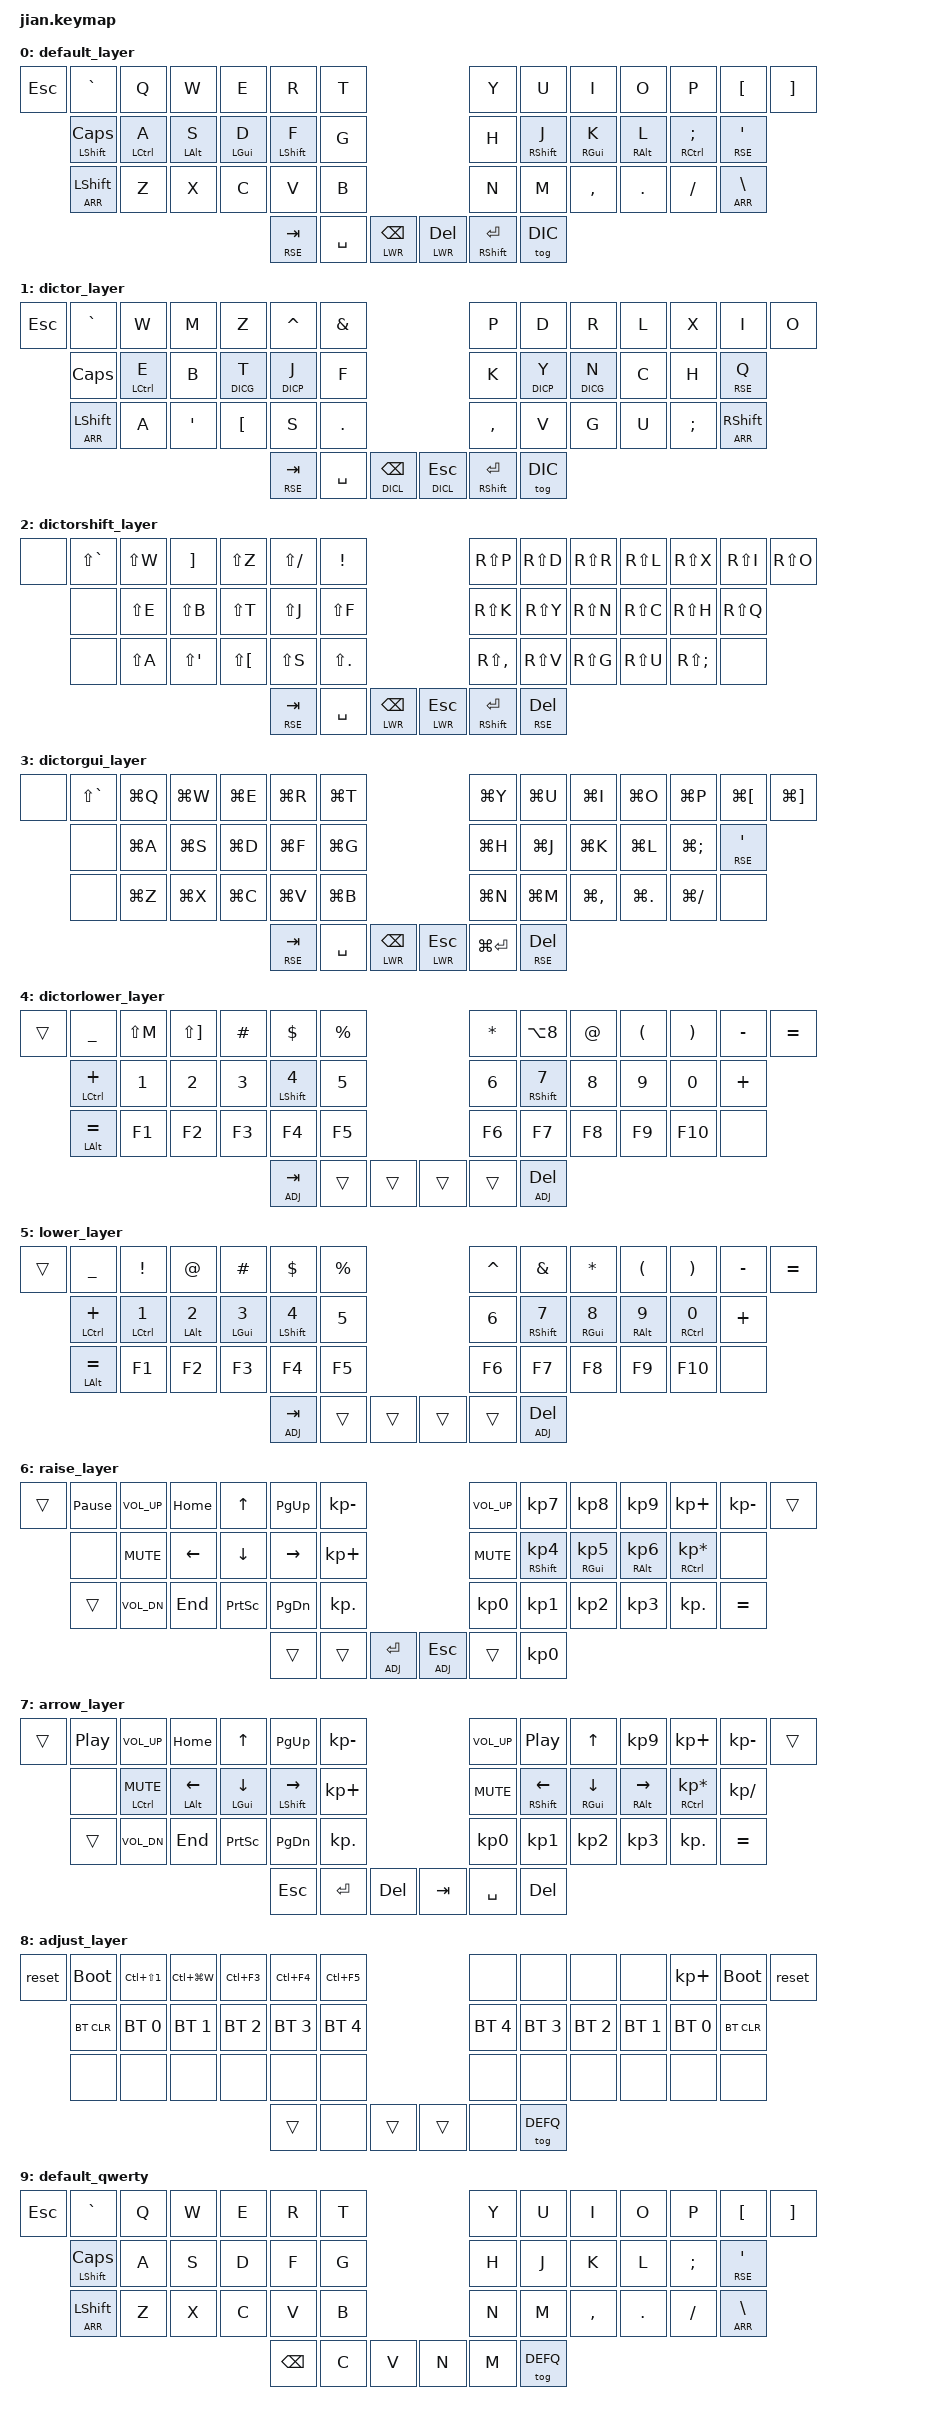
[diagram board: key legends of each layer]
/*
 * Copyright (c) 2020 The ZMK Contributors
 *
 * SPDX-License-Identifier: MIT
 *
 */

#include <behaviors.dtsi>
#include <dt-bindings/zmk/keys.h>
#include <dt-bindings/zmk/bt.h>

#define DEF 0
#define DIC 1
#define DICP 2
#define DICG 3
#define DICL 4
#define LWR 5
#define RSE 6
#define ARR 7
#define ADJ 8
#define DEFQ 9

&lt { quick_tap_ms = <200>; };
&mt { quick_tap_ms = <200>; };

/   {
    behaviors {
        hm: homerow_mods {
            compatible = "zmk,behavior-hold-tap";
            label = "HOMEROW_MODS";
            #binding-cells = <2>;
            tapping-term-ms = <150>;
            quick_tap_ms = <0>;
            flavor = "tap-preferred";
            bindings = <&kp>, <&kp>;
        };  
    };

    
    keymap {
        compatible = "zmk,keymap";

        default_layer {
            bindings = <
    // ╭─────────────┬─────────────┬─────────────┬─────────────┬─────────────┬─────────────┬─────────────╮                               ╭─────────────┬─────────────┬─────────────┬─────────────┬─────────────┬─────────────┬─────────────╮
            &kp ESC     &kp GRAVE       &kp Q       &kp W           &kp E         &kp R         &kp T                                         &kp Y        &kp U         &kp I          &kp O        &kp P         &kp LBKT      &kp RBKT
    // ╰─────────────┼─────────────┼─────────────┼─────────────┼─────────────┼─────────────┼─────────────┤                               ├─────────────┼─────────────┼─────────────┼─────────────┼─────────────┼─────────────┼─────────────╯
                     &mt LSHIFT CAPS &hm LCTRL A   &hm LALT S     &hm LGUI D   &hm LSHIFT F     &kp G                                         &kp H      &hm RSHIFT J  &hm RGUI K    &hm RALT L   &hm RCTRL SEMI &lt RSE SQT
    //               ├─────────────┼─────────────┼─────────────┼─────────────┼─────────────┼─────────────┤                               ├─────────────┼─────────────┼─────────────┼─────────────┼─────────────┼─────────────┤
                     &lt ARR LSHIFT     &kp Z         &kp X         &kp C         &kp V         &kp B                                         &kp N         &kp M      &kp COMMA     &kp DOT        &kp FSLH    &lt ARR BSLH
    //               ╰─────────────┴─────────────┴─────────────┴─────────────┼─────────────┼─────────────┼─────────────╮   ╭─────────────┼─────────────┼─────────────┼─────────────┴─────────────┴─────────────┴─────────────╯
                                                                               &lt RSE TAB    &kp SPACE    &lt LWR BSPC      &lt LWR DEL  &mt RSHFT RET   &tog DIC
    //                                                                       ╰─────────────┴─────────────┴─────────────╯   ╰─────────────┴─────────────┴─────────────╯
                        >;
                };

        dictor_layer {
            bindings = <
    // ╭─────────────┬─────────────┬─────────────┬─────────────┬─────────────┬─────────────┬─────────────╮                               ╭─────────────┬─────────────┬─────────────┬─────────────┬─────────────┬─────────────┬─────────────╮
            &kp ESC     &kp GRAVE       &kp W        &kp M         &kp Z        &kp CARET    &kp AMPS                                         &kp P        &kp D          &kp R        &kp L          &kp X         &kp I        &kp O
    // ╰─────────────┼─────────────┼─────────────┼─────────────┼─────────────┼─────────────┼─────────────┤                               ├─────────────┼─────────────┼─────────────┼─────────────┼─────────────┼─────────────┼─────────────╯
                        &kp CAPS     &hm LCTRL E    &kp B        &lt DICG T     &lt DICP J     &kp F                                          &kp K      &lt DICP Y     &lt DICG N     &kp C          &kp H       &lt RSE Q
    //               ├─────────────┼─────────────┼─────────────┼─────────────┼─────────────┼─────────────┤                               ├─────────────┼─────────────┼─────────────┼─────────────┼─────────────┼─────────────┤
                      &lt ARR LSHIFT    &kp A        &kp SQT      &kp LBKT        &kp S        &kp DOT                                       &kp COMMA      &kp V         &kp G        &kp U        &kp SEMI    &lt ARR RSHIFT
    //               ╰─────────────┴─────────────┴─────────────┴─────────────┼─────────────┼─────────────┼─────────────╮   ╭─────────────┼─────────────┼─────────────┼─────────────┴─────────────┴─────────────┴─────────────╯
                                                                                &lt RSE TAB    &kp SPACE  &lt DICL BSPC     &lt DICL ESC  &mt RSHFT RET    &tog DIC
    //                                                                       ╰─────────────┴─────────────┴─────────────╯   ╰─────────────┴─────────────┴─────────────╯
                        >;
                };

        dictorshift_layer {
            bindings = <
    // ╭─────────────┬─────────────┬─────────────┬─────────────┬─────────────┬─────────────┬─────────────╮                               ╭─────────────┬─────────────┬─────────────┬─────────────┬─────────────┬─────────────┬─────────────╮
            &none     &kp LS(GRAVE)   &kp LS(W)      &kp RBKT     &kp LS(Z)    &kp LS(FSLH)   &kp EXCL                                      &kp RS(P)     &kp RS(D)     &kp RS(R)    &kp RS(L)      &kp RS(X)     &kp RS(I)     &kp RS(O)
    // ╰─────────────┼─────────────┼─────────────┼─────────────┼─────────────┼─────────────┼─────────────┤                               ├─────────────┼─────────────┼─────────────┼─────────────┼─────────────┼─────────────┼─────────────╯
                        &none         &kp LS(E)      &kp LS(B)    &kp LS(T)     &kp LS(J)    &kp LS(F)                                      &kp RS(K)     &kp RS(Y)     &kp RS(N)     &kp RS(C)     &kp RS(H)     &kp RS(Q)
    //               ├─────────────┼─────────────┼─────────────┼─────────────┼─────────────┼─────────────┤                               ├─────────────┼─────────────┼─────────────┼─────────────┼─────────────┼─────────────┤
                        &none          &kp LS(A)  &kp LS(SQT)   &kp LS(LBKT)   &kp LS(S)     &kp LS(DOT)                                  &kp RS(COMMA)   &kp RS(V)     &kp RS(G)     &kp RS(U)     &kp RS(SEMI)  &none
    //               ╰─────────────┴─────────────┴─────────────┴─────────────┼─────────────┼─────────────┼─────────────╮   ╭─────────────┼─────────────┼─────────────┼─────────────┴─────────────┴─────────────┴─────────────╯
                                                                               &lt RSE TAB   &kp SPACE     &lt LWR BSPC     &lt LWR ESC   &mt RSHFT RET  &lt RSE DEL
    //                                                                       ╰─────────────┴─────────────┴─────────────╯   ╰─────────────┴─────────────┴─────────────╯
                        >;
                };

        dictorgui_layer {
            bindings = <
    // ╭─────────────┬─────────────┬─────────────┬─────────────┬─────────────┬─────────────┬─────────────╮                               ╭─────────────┬─────────────┬─────────────┬─────────────┬─────────────┬─────────────┬─────────────╮
            &none     &kp LS(GRAVE)   &kp LG(Q)     &kp LG(W)     &kp LG(E)    &kp LG(R)     &kp LG(T)                                      &kp LG(Y)     &kp LG(U)    &kp LG(I)     &kp LG(O)      &kp LG(P)    &kp LG(LBKT)  &kp LG(RBKT)
    // ╰─────────────┼─────────────┼─────────────┼─────────────┼─────────────┼─────────────┼─────────────┤                               ├─────────────┼─────────────┼─────────────┼─────────────┼─────────────┼─────────────┼─────────────╯
                        &none         &kp LG(A)     &kp LG(S)    &kp LG(D)     &kp LG(F)     &kp LG(G)                                      &kp LG(H)     &kp LG(J)     &kp LG(K)     &kp LG(L)     &kp LG(SEMI)   &lt RSE SQT
    //               ├─────────────┼─────────────┼─────────────┼─────────────┼─────────────┼─────────────┤                               ├─────────────┼─────────────┼─────────────┼─────────────┼─────────────┼─────────────┤
                        &none         &kp LG(Z)     &kp LG(X)    &kp LG(C)     &kp LG(V)     &kp LG(B)                                      &kp LG(N)     &kp LG(M)    &kp LG(COMMA)  &kp LG(DOT)   &kp LG(FSLH)  &none
    //               ╰─────────────┴─────────────┴─────────────┴─────────────┼─────────────┼─────────────┼─────────────╮   ╭─────────────┼─────────────┼─────────────┼─────────────┴─────────────┴─────────────┴─────────────╯
                                                                               &lt RSE TAB   &kp SPACE     &lt LWR BSPC     &lt LWR ESC   &kp LG(RET)  &lt RSE DEL
    //                                                                       ╰─────────────┴─────────────┴─────────────╯   ╰─────────────┴─────────────┴─────────────╯
                        >;
                };

        dictorlower_layer {
            bindings = <
    // ╭─────────────┬─────────────┬─────────────┬─────────────┬─────────────┬─────────────┬─────────────╮                               ╭─────────────┬─────────────┬─────────────┬─────────────┬─────────────┬─────────────┬─────────────╮       
            &trans      &kp UNDER     &kp LS(M)    &kp LS(RBKT)   &kp HASH     &kp DLLR       &kp PRCNT                                     &kp STAR    &kp LA(N8)      &kp AT        &kp LPAR      &kp RPAR      &kp MINUS     &kp EQUAL
    // ╰─────────────┼─────────────┼─────────────┼─────────────┼─────────────┼─────────────┼─────────────┤                               ├─────────────┼─────────────┼─────────────┼─────────────┼─────────────┼─────────────┼─────────────╯
                     &mt LCTRL PLUS     &kp N1       &kp N2        &kp N3     &hm LSHIFT N4    &kp N5                                         &kp N6    &hm RSHIFT N7    &kp N8        &kp N9        &kp N0       &kp PLUS
    //               ├─────────────┼─────────────┼─────────────┼─────────────┼─────────────┼─────────────┤                               ├─────────────┼─────────────┼─────────────┼─────────────┼─────────────┼─────────────┤
                      &mt LALT EQUAL    &kp F1       &kp F2        &kp F3       &kp F4          &kp F5                                        &kp F6        &kp F7       &kp F8        &kp F9        &kp F10        &none
    //               ╰─────────────┴─────────────┴─────────────┴─────────────┼─────────────┼─────────────┼─────────────╮   ╭─────────────┼─────────────┼─────────────┼─────────────┴─────────────┴─────────────┴─────────────╯
                                                                              &lt ADJ TAB       &trans      &trans              &trans        &trans     &lt ADJ DEL
    //                                                                       ╰─────────────┴─────────────┴─────────────╯   ╰─────────────┴─────────────┴─────────────╯
                        >;
                };

        lower_layer {
            bindings = <
    // ╭─────────────┬─────────────┬─────────────┬─────────────┬─────────────┬─────────────┬─────────────╮                               ╭─────────────┬─────────────┬─────────────┬─────────────┬─────────────┬─────────────┬─────────────╮       
          &trans        &kp UNDER      &kp EXCL      &kp AT        &kp HASH     &kp DLLR      &kp PRCNT                                     &kp CARET      &kp AMPS    &kp STAR      &kp LPAR       &kp RPAR     &kp MINUS     &kp EQUAL
    // ╰─────────────┼─────────────┼─────────────┼─────────────┼─────────────┼─────────────┼─────────────┤                               ├─────────────┼─────────────┼─────────────┼─────────────┼─────────────┼─────────────┼─────────────╯
                     &mt LCTRL PLUS  &hm LCTRL N1  &hm LALT N2   &hm LGUI N3  &hm LSHIFT N4    &kp N5                                        &kp N6     &hm RSHIFT N7  &hm RGUI N8   &hm RALT N9   &hm RCTRL N0    &kp PLUS
    //               ├─────────────┼─────────────┼─────────────┼─────────────┼─────────────┼─────────────┤                               ├─────────────┼─────────────┼─────────────┼─────────────┼─────────────┼─────────────┤
                     &mt LALT EQUAL    &kp F1        &kp F2         &kp F3       &kp F4        &kp F5                                        &kp F6        &kp F7        &kp F8        &kp F9        &kp F10       &none
    //               ╰─────────────┴─────────────┴─────────────┴─────────────┼─────────────┼─────────────┼─────────────╮   ╭─────────────┼─────────────┼─────────────┼─────────────┴─────────────┴─────────────┴─────────────╯
                                                                               &lt ADJ TAB     &trans        &trans            &trans         &trans     &lt ADJ DEL
    //                                                                       ╰─────────────┴─────────────┴─────────────╯   ╰─────────────┴─────────────┴─────────────╯
                        >;
                };

        raise_layer {
            bindings = <
    // ╭─────────────┬─────────────┬─────────────┬─────────────┬─────────────┬─────────────┬─────────────╮                               ╭─────────────┬─────────────┬─────────────┬─────────────┬─────────────┬─────────────┬─────────────╮      
          &trans     &kp PAUSE_BREAK &kp C_VOL_UP   &kp HOME       &kp UP       &kp PG_UP    &kp KP_MINUS                                  &kp C_VOL_UP   &kp KP_N7     &kp KP_N8     &kp KP_N9    &kp KP_PLUS   &kp KP_MINUS    &trans
    // ╰─────────────┼─────────────┼─────────────┼─────────────┼─────────────┼─────────────┼─────────────┤                               ├─────────────┼─────────────┼─────────────┼─────────────┼─────────────┼─────────────┼─────────────╯
                          &none      &kp C_MUTE      &kp LEFT      &kp DOWN     &kp RIGHT    &kp KP_PLUS                                 &kp C_MUTE  &hm RSHIFT KP_N4 &hm RGUI KP_N5 &hm RALT KP_N6 &hm RCTRL KP_MULTIPLY &none
    //               ├─────────────┼─────────────┼─────────────┼─────────────┼─────────────┼─────────────┤                               ├─────────────┼─────────────┼─────────────┼─────────────┼─────────────┼─────────────┤
                         &trans      &kp C_VOL_DN    &kp END     &kp PSCRN      &kp PG_DN    &kp KP_DOT                                    &kp KP_N0       &kp KP_N1    &kp KP_N2    &kp KP_N3     &kp KP_DOT     &kp EQUAL
    //               ╰─────────────┴─────────────┴─────────────┴─────────────┼─────────────┼─────────────┼─────────────╮   ╭─────────────┼─────────────┼─────────────┼─────────────┴─────────────┴─────────────┴─────────────╯
                                                                                &trans          &trans     &lt ADJ RET       &lt ADJ ESC    &trans       &kp KP_N0
    //                                                                       ╰─────────────┴─────────────┴─────────────╯   ╰─────────────┴─────────────┴─────────────╯
                        >;
                };

        arrow_layer {
            bindings = <
    // ╭─────────────┬─────────────┬─────────────┬─────────────┬─────────────┬─────────────┬─────────────╮                               ╭─────────────┬─────────────┬─────────────┬─────────────┬─────────────┬─────────────┬─────────────╮        
          &trans     &kp C_PLAY_PAUSE &kp C_VOL_UP  &kp HOME        &kp UP      &kp PG_UP    &kp KP_MINUS                                   &kp C_VOL_UP  &kp C_PLAY_PAUSE      &kp UP       &kp KP_N9    &kp KP_PLUS   &kp KP_MINUS     &trans
    // ╰─────────────┼─────────────┼─────────────┼─────────────┼─────────────┼─────────────┼─────────────┤                               ├─────────────┼─────────────┼─────────────┼─────────────┼─────────────┼─────────────┼─────────────╯
                          &none    &hm LCTRL C_MUTE &hm LALT LEFT &hm LGUI DOWN &hm LSHIFT RIGHT &kp KP_PLUS                               &kp C_MUTE  &hm RSHIFT LEFT &hm RGUI DOWN &hm RALT RIGHT &hm RCTRL KP_MULTIPLY &kp KP_SLASH
    //               ├─────────────┼─────────────┼─────────────┼─────────────┼─────────────┼─────────────┤                               ├─────────────┼─────────────┼─────────────┼─────────────┼─────────────┼─────────────┤
                         &trans     &kp C_VOL_DN     &kp END     &kp PSCRN     &kp PG_DN     &kp KP_DOT                                     &kp KP_N0    &kp KP_N1     &kp KP_N2     &kp KP_N3    &kp KP_DOT     &kp EQUAL
    //               ╰─────────────┴─────────────┴─────────────┴─────────────┼─────────────┼─────────────┼─────────────╮   ╭─────────────┼─────────────┼─────────────┼─────────────┴─────────────┴─────────────┴─────────────╯
                                                                               &kp ESC        &kp RET       &kp DEL           &kp TAB       &kp SPACE      &kp DEL
    //                                                                       ╰─────────────┴─────────────┴─────────────╯   ╰─────────────┴─────────────┴─────────────╯
                        >;
                };

        adjust_layer {
            bindings = <
    // ╭─────────────┬─────────────┬─────────────┬─────────────┬─────────────┬─────────────┬─────────────╮                               ╭─────────────┬─────────────┬─────────────┬─────────────┬─────────────┬─────────────┬─────────────╮       
           &reset      &bootloader &kp LC(LS(N1)) &kp LC(LG(W))    &kp LC(F3)   &kp LC(F4)   &kp LC(F5)                                     &none        &none           &none        &none        &kp KP_PLUS    &bootloader     &reset
    // ╰─────────────┼─────────────┼─────────────┼─────────────┼─────────────┼─────────────┼─────────────┤                               ├─────────────┼─────────────┼─────────────┼─────────────┼─────────────┼─────────────┼─────────────╯
                        &bt BT_CLR   &bt BT_SEL 0 &bt BT_SEL 1   &bt BT_SEL 2 &bt BT_SEL 3   &bt BT_SEL 4                                  &bt BT_SEL 4 &bt BT_SEL 3   &bt BT_SEL 2  &bt BT_SEL 1  &bt BT_SEL 0  &bt BT_CLR
    //               ├─────────────┼─────────────┼─────────────┼─────────────┼─────────────┼─────────────┤                               ├─────────────┼─────────────┼─────────────┼─────────────┼─────────────┼─────────────┤
                          &none        &none        &none           &none        &none        &none                                          &none        &none          &none        &none        &none           &none
    //               ╰─────────────┴─────────────┴─────────────┴─────────────┼─────────────┼─────────────┼─────────────╮   ╭─────────────┼─────────────┼─────────────┼─────────────┴─────────────┴─────────────┴─────────────╯
                                                                                &trans        &none           &trans          &trans         &none        &tog DEFQ
    //                                                                       ╰─────────────┴─────────────┴─────────────╯   ╰─────────────┴─────────────┴─────────────╯
                        >;
                };

        default_qwerty {
            bindings = <
    // ╭─────────────┬─────────────┬─────────────┬─────────────┬─────────────┬─────────────┬─────────────╮                               ╭─────────────┬─────────────┬─────────────┬─────────────┬─────────────┬─────────────┬─────────────╮
            &kp ESC     &kp GRAVE       &kp Q       &kp W           &kp E         &kp R         &kp T                                         &kp Y        &kp U         &kp I          &kp O        &kp P         &kp LBKT      &kp RBKT
    // ╰─────────────┼─────────────┼─────────────┼─────────────┼─────────────┼─────────────┼─────────────┤                               ├─────────────┼─────────────┼─────────────┼─────────────┼─────────────┼─────────────┼─────────────╯
                     &mt LSHIFT CAPS    &kp A       &kp S           &kp D         &kp F         &kp G                                         &kp H        &kp J         &kp K          &kp L        &kp SEMI   &lt RSE SQT
    //               ├─────────────┼─────────────┼─────────────┼─────────────┼─────────────┼─────────────┤                               ├─────────────┼─────────────┼─────────────┼─────────────┼─────────────┼─────────────┤
                     &lt ARR LSHIFT     &kp Z         &kp X         &kp C         &kp V         &kp B                                         &kp N         &kp M      &kp COMMA     &kp DOT        &kp FSLH    &lt ARR BSLH
    //               ╰─────────────┴─────────────┴─────────────┴─────────────┼─────────────┼─────────────┼─────────────╮   ╭─────────────┼─────────────┼─────────────┼─────────────┴─────────────┴─────────────┴─────────────╯
                                                                               &kp BSPC       &kp C        &kp V               &kp N          &kp M       &tog DEFQ
    //                                                                       ╰─────────────┴─────────────┴─────────────╯   ╰─────────────┴─────────────┴─────────────╯
                        >;
                };
        };
};
